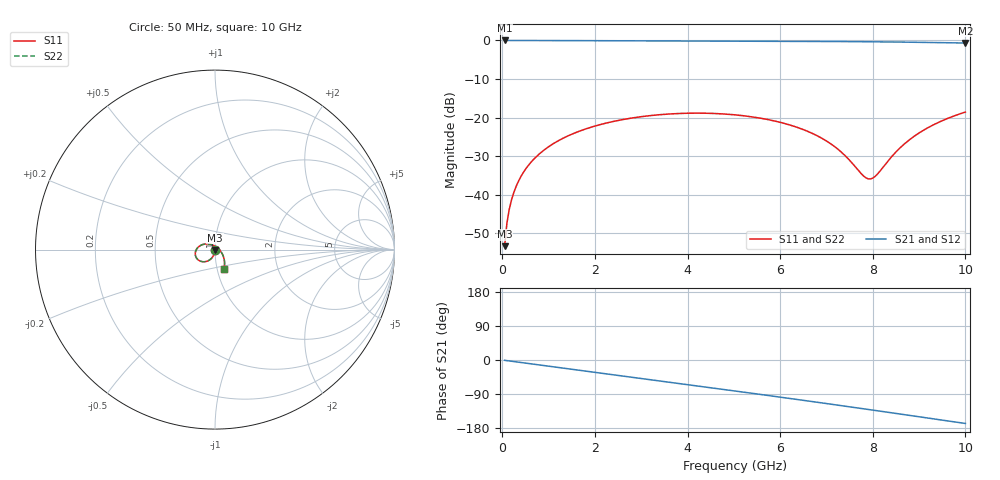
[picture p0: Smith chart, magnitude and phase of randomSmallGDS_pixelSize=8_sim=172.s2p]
! freq	dB(S11)	phase(S11)	dB(S12)	phase(S12)
!  dB(S21)	phase(S21)	dB(S22)	phase(S22)
!S-par simulation data
#  GHz  S  DB  R 50
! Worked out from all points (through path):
!   200 points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, 50 MHz to 10 GHz, reference 50 ohm
!   highest |S21| = 0.00 dB at 50 MHz (marker M1); lowest = -0.7 dB at 10 GHz (marker M2)
!   group delay of S21, straight-line fit = 46.3 ps
!   lowest |S11| = -53.4 dB at 50 MHz (marker M3), VSWR 1.00, Z = 50 - j0.214 ohm
!   |S11| at or under -10 dB: start of sweep to end of sweep
!   |S22| runs from -53.4 to -18.6 dB; largest |S21 - S12| = 0
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0.05  -53.40 -90.5  -0.00 -0.8  -0.00 -0.8  -53.40 -90.5
0.1  -47.38 -91.6  -0.00 -1.7  -0.00 -1.7  -47.38 -91.6
0.15  -43.86 -92.6  -0.01 -2.5  -0.01 -2.5  -43.86 -92.6
0.2  -41.36 -93.6  -0.01 -3.3  -0.01 -3.3  -41.37 -93.6
0.35  -36.52 -96.3  -0.01 -5.7  -0.01 -5.7  -36.52 -96.3
0.5  -33.45 -98.9  -0.01 -8.2  -0.01 -8.2  -33.45 -98.9
0.7  -30.57 -102.3  -0.02 -11.4  -0.02 -11.4  -30.57 -102.3
1  -27.59 -107.3  -0.02 -16.3  -0.02 -16.3  -27.59 -107.3
1.75  -23.18 -119.8  -0.05 -28.5  -0.05 -28.5  -23.18 -119.8
2.5  -20.77 -132.1  -0.08 -40.6  -0.08 -40.6  -20.77 -132.2
3.4  -19.27 -147.1  -0.11 -55.2  -0.11 -55.2  -19.27 -147.1
4.25  -18.87 -161.5  -0.15 -69.0  -0.15 -69.0  -18.87 -161.6
5.05  -19.34 -175.7  -0.17 -82.1  -0.17 -82.1  -19.34 -175.8
5.95  -21.10 167.0  -0.21 -97.1  -0.21 -97.1  -21.10 166.9
6.7  -24.15 149.7  -0.24 -109.8  -0.24 -109.8  -24.15 149.5
7.25  -28.25 130.9  -0.28 -119.2  -0.28 -119.2  -28.22 130.4
7.9  -35.93 60.2  -0.34 -130.5  -0.34 -130.5  -35.73 59.9
8.05  -35.30 29.2  -0.35 -133.1  -0.35 -133.1  -35.11 29.5
8.35  -30.98 -9.8  -0.39 -138.3  -0.39 -138.3  -30.90 -9.2
8.65  -27.20 -28.0  -0.43 -143.6  -0.43 -143.6  -27.17 -27.5
9.05  -23.64 -42.4  -0.49 -150.6  -0.49 -150.6  -23.62 -42.0
10  -18.59 -65.1  -0.67 -167.5  -0.67 -167.5  -18.58 -64.8
